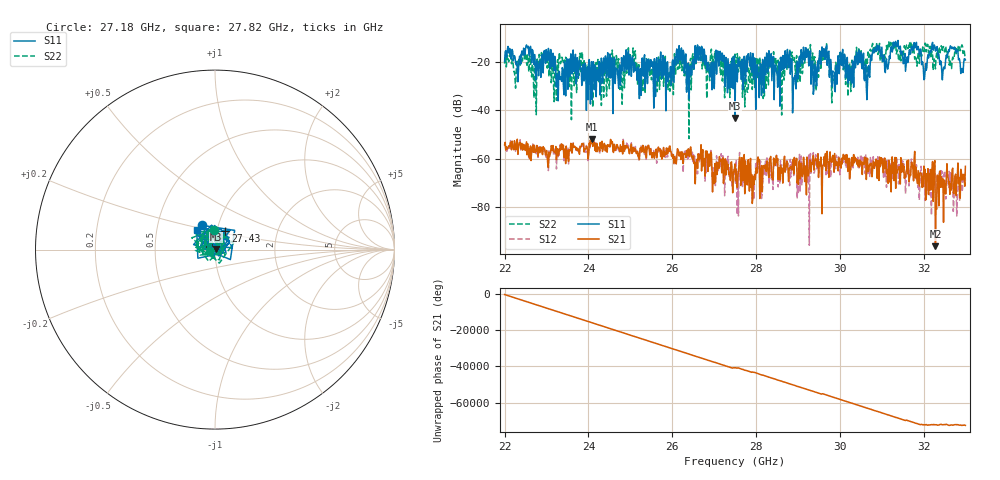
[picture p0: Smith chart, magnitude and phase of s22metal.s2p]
!Keysight Technologies,N5224B,MY57181201,A.12.70.07
!Date: Friday, July 15, 2022 16:11:22
!Correction: S11(Full 2 Port(1,2))
!S21(Full 2 Port(1,2))
!S12(Full 2 Port(1,2))
!S22(Full 2 Port(1,2))
!S2P File: Measurements: S11, S21, S12, S22:
# Hz S  dB  R 50
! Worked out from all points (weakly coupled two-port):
!   801 points, 22 GHz to 33 GHz, reference 50 ohm
!   highest |S21| = -51.84 dB at 24.09 GHz (marker M1); lowest = -96.3 dB at 32.28 GHz (marker M2)
!   lowest |S11| = -43.2 dB at 27.5 GHz (marker M3), VSWR 1.01, Z = 50.6 + j0.357 ohm
!   |S11| at or under -10 dB: start of sweep to end of sweep
!   |S22| runs from -51.7 to -11.6 dB; largest |S21 - S12| = 0.001
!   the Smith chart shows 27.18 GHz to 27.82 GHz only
!   S11 on the Smith chart (normalised r, x): 27.18 GHz: 0.84, +0.23; 27.43 GHz: 1.10, +0.24; 27.82 GHz: 0.80, +0.18
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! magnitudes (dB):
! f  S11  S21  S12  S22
! 22 GHz  -19.7  -54.3  -54.4  -20.7
! 23.84 GHz  -29.7  -53.8  -54.4  -16.4
! 24.09 GHz  -35.4  -51.8  -51.1  -23.3
! 24.61 GHz  -18.7  -54.1  -54.1  -17.9
! 24.8 GHz  -20.3  -55.1  -55.6  -37.5
! 25.07 GHz  -19.3  -55.4  -54.8  -14.2
! 25.26 GHz  -33.8  -55.2  -54.4  -31.3
! 25.67 GHz  -21.1  -55.3  -55.1  -17.9
! 27.18 GHz  -16.3  -65.9  -63.8  -19.4
! 27.43 GHz  -18.3  -65.8  -71.9  -27.6
! 27.5 GHz  -43.2  -62.2  -67.2  -16.7
! 27.82 GHz  -16.5  -60.5  -60.8  -31.5
! 28.93 GHz  -25.4  -62.0  -59.9  -21.7
! 29.19 GHz  -14.1  -64.9  -64.4  -14.0
! 29.34 GHz  -19.7  -61.4  -62.3  -18.2
! 29.63 GHz  -14.7  -59.2  -60.0  -14.3
! 29.85 GHz  -24.0  -59.3  -62.4  -27.3
! 31.17 GHz  -20.3  -60.7  -61.8  -11.6
! 31.82 GHz  -12.5  -63.5  -68.3  -17.6
! 32.02 GHz  -26.9  -67.2  -64.4  -13.7
! 32.28 GHz  -15.4  -96.3  -71.7  -22.8
! 33 GHz  -19.1  -63.2  -69.2  -18.4
